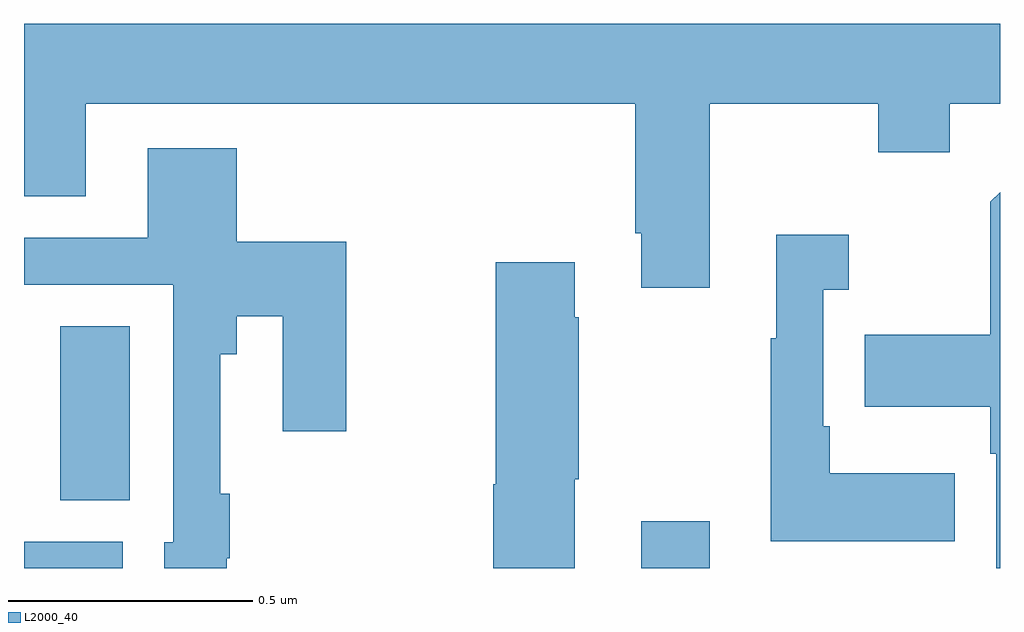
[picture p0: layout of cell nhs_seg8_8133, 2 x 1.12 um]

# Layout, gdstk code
import gdstk
lib = gdstk.Library(unit=1e-6, precision=1e-09)
def R(c, l, rs):  # rectangles x0, y0, x1, y1
    for r in rs: c.add(gdstk.rectangle(r[:2], r[2:], *l))
def P(c, l, *ps):  # polygons
    for p in ps: c.add(gdstk.Polygon(p, *l))
L2000_40 = (2000, 40)

nhs_seg8_8133 = lib.new_cell('nhs_seg8_8133')
R(nhs_seg8_8133, L2000_40, [(219,1096.9,219.202,1096.954), (220.265,1096.9,220.405,1096.996), (219.074,1097.039,219.217,1097.396)])
P(nhs_seg8_8133, L2000_40, [(220.405,1097.852),(220.75,1097.852),(220.75,1097.753),(220.897,1097.753),(220.897,1097.852),(221,1097.852),(221,1098.016),(219,1098.016),(219,1097.662),(219.127,1097.662),(219.127,1097.852),(220.253,1097.852),(220.253,1097.587),(220.265,1097.587),(220.265,1097.475),(220.405,1097.475)],
  [(219.415,1096.921),(219.422,1096.921),(219.422,1097.053),(219.402,1097.053),(219.402,1097.339),(219.436,1097.339),(219.436,1097.417),(219.53,1097.417),(219.53,1097.181),(219.66,1097.181),(219.66,1097.569),(219.436,1097.569),(219.436,1097.761),(219.254,1097.761),(219.254,1097.577),(219,1097.577),(219,1097.481),(219.306,1097.481),(219.306,1096.953),(219.287,1096.953),(219.287,1096.9),(219.415,1096.9)],
  [(221,1097.671),(220.98,1097.651),(220.98,1097.379),(220.723,1097.379),(220.723,1097.231),(220.98,1097.231),(220.98,1097.135),(220.992,1097.135),(220.992,1096.9),(221,1096.9)],
  [(220.907,1097.095),(220.651,1097.095),(220.651,1097.191),(220.638,1097.191),(220.638,1097.471),(220.69,1097.471),(220.69,1097.584),(220.541,1097.584),(220.541,1097.371),(220.53,1097.371),(220.53,1096.955),(220.907,1096.955)],
  [(220.129,1097.083),(220.137,1097.083),(220.137,1097.414),(220.129,1097.414),(220.129,1097.527),(219.967,1097.527),(219.967,1097.072),(219.962,1097.072),(219.962,1096.9),(220.129,1096.9)])

lib.write_gds('nhs_seg8_8133.gds')
